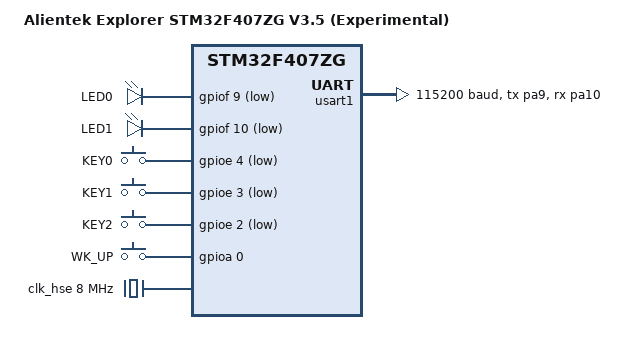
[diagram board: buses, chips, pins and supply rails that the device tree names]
/*
 * Copyright (c) 2020 Intel Corporation
 *
 * 正点原子探索者 V3.5 实验板：引脚取自文件名 V3.5、页内标注 V3.4 的原理图。
 * 目前仅 LED0/PF9 在所测 V3.5 实板通过核验，其它连接仍待核对。
 * SPDX-License-Identifier: Apache-2.0
 */

/dts-v1/;
#include <st/f4/stm32f407Xg.dtsi>
#include <st/f4/stm32f407z(e-g)tx-pinctrl.dtsi>
#include <zephyr/dt-bindings/input/input-event-codes.h>

/ {
	model = "Alientek Explorer STM32F407ZG V3.5 (Experimental)";
	compatible = "alientek,explorer-stm32f407zg";

	chosen {
		zephyr,console = &usart1;
		zephyr,shell-uart = &usart1;
		zephyr,sram = &sram0;
		zephyr,flash = &flash0;
		zephyr,dtcm = &ccm0;
	};

	leds {
		compatible = "gpio-leds";

		led0: led_0 {
			gpios = <&gpiof 9 GPIO_ACTIVE_LOW>;
			label = "LED0";
		};

		led1: led_1 {
			gpios = <&gpiof 10 GPIO_ACTIVE_LOW>;
			label = "LED1";
		};
	};

	gpio_keys {
		compatible = "gpio-keys";

		key0: key_0 {
			gpios = <&gpioe 4 GPIO_ACTIVE_LOW>;
			label = "KEY0";
			zephyr,code = <INPUT_KEY_0>;
		};

		key1: key_1 {
			gpios = <&gpioe 3 GPIO_ACTIVE_LOW>;
			label = "KEY1";
			zephyr,code = <INPUT_KEY_1>;
		};

		key2: key_2 {
			gpios = <&gpioe 2 GPIO_ACTIVE_LOW>;
			label = "KEY2";
			zephyr,code = <INPUT_KEY_2>;
		};

		key_up: key_up {
			gpios = <&gpioa 0 GPIO_ACTIVE_HIGH>;
			label = "WK_UP";
			zephyr,code = <INPUT_KEY_UP>;
		};
	};

	aliases {
		led0 = &led0;
		led1 = &led1;
		sw0 = &key0;
		sw1 = &key1;
		sw2 = &key2;
		sw3 = &key_up;
	};
};

&clk_hse {
	clock-frequency = <DT_FREQ_M(8)>;
	status = "okay";
};

&pll {
	div-m = <8>;
	mul-n = <336>;
	div-p = <2>;
	div-q = <7>;
	clocks = <&clk_hse>;
	status = "okay";
};

&rcc {
	clocks = <&pll>;
	clock-frequency = <DT_FREQ_M(168)>;
	ahb-prescaler = <1>;
	apb1-prescaler = <4>;
	apb2-prescaler = <2>;
};

&usart1 {
	pinctrl-0 = <&usart1_tx_pa9 &usart1_rx_pa10>;
	pinctrl-names = "default";
	current-speed = <115200>;
	status = "okay";
};
